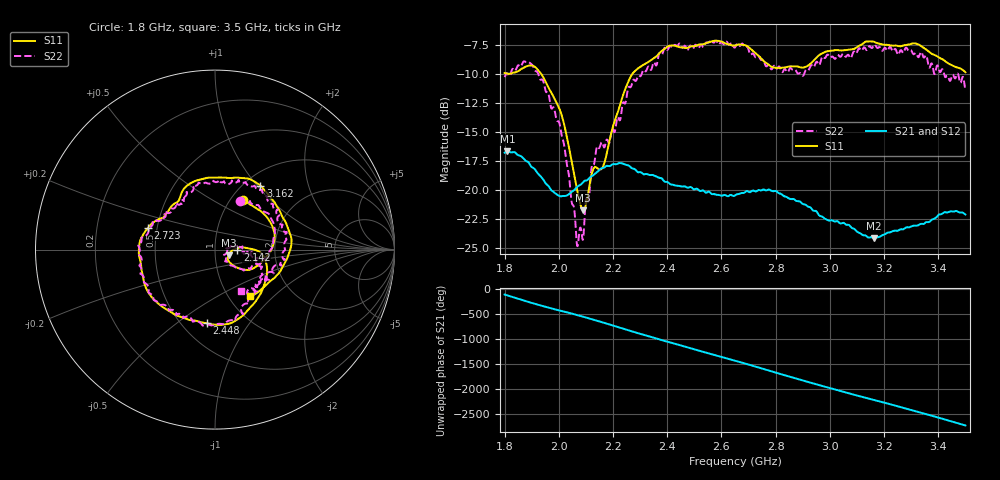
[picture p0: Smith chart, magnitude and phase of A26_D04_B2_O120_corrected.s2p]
! Created with skrf 1.9.0 (http://scikit-rf.org).
# Hz S RI R 50.0
!freq ReS11 ImS11 ReS21 ImS21 ReS12 ImS12 ReS22 ImS22
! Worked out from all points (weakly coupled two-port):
!   1601 points, 1.8 GHz to 3.5 GHz, reference 50 ohm
!   highest |S21| = -16.67 dB at 1.811 GHz (marker M1); lowest = -24.2 dB at 3.161 GHz (marker M2)
!   lowest |S11| = -21.8 dB at 2.09 GHz (marker M3), VSWR 1.18, Z = 58 - j3.7 ohm
!   |S11| at or under -10 dB: 1.936 GHz to 2.27 GHz (334.8 MHz wide, 15.9 % of centre)
!   |S22| runs from -24.9 to -7.1 dB; largest |S21 - S12| = 0.0023
!   S11 on the Smith chart (normalised r, x): 1.8 GHz: 1.14, +0.71; 2.142 GHz: 1.28, -0.00; 2.448 GHz: 0.66, -0.65; 2.723 GHz: 0.45, +0.13; 3.162 GHz: 1.18, +1.04; 3.5 GHz: 1.26, -0.72
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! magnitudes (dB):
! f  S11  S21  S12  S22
! 1.8 GHz  -9.9  -16.8  -16.8  -10.2
! 1.811 GHz  -10.0  -16.7  -16.7  -9.9
! 1.882 GHz  -9.3  -17.5  -17.5  -8.9
! 1.941 GHz  -10.2  -19.1  -19.0  -10.5
! 2.011 GHz  -13.6  -20.5  -20.5  -15.4
! 2.066 GHz  -19.8  -19.8  -19.8  -24.4
! 2.084 GHz  -21.5  -19.5  -19.4  -23.6
! 2.09 GHz  -21.8  -19.3  -19.3  -24.2
! 2.142 GHz  -18.1  -18.4  -18.4  -16.2
! 2.167 GHz  -17.8  -18.1  -18.1  -16.3
! 2.264 GHz  -10.2  -18.0  -18.0  -11.1
! 2.367 GHz  -8.3  -18.9  -18.9  -8.5
! 2.448 GHz  -7.7  -19.7  -19.7  -7.4
! 2.65 GHz  -7.5  -20.5  -20.4  -7.7
! 2.723 GHz  -8.1  -20.1  -20.0  -8.5
! 2.796 GHz  -9.4  -20.1  -20.1  -9.3
! 2.934 GHz  -9.0  -21.7  -21.6  -9.2
! 3.161 GHz  -7.2  -24.2  -24.1  -7.6
! 3.162 GHz  -7.2  -24.2  -24.1  -7.5
! 3.217 GHz  -7.5  -23.7  -23.6  -7.8
! 3.323 GHz  -7.4  -23.1  -23.0  -8.4
! 3.5 GHz  -9.8  -22.1  -22.1  -11.3
